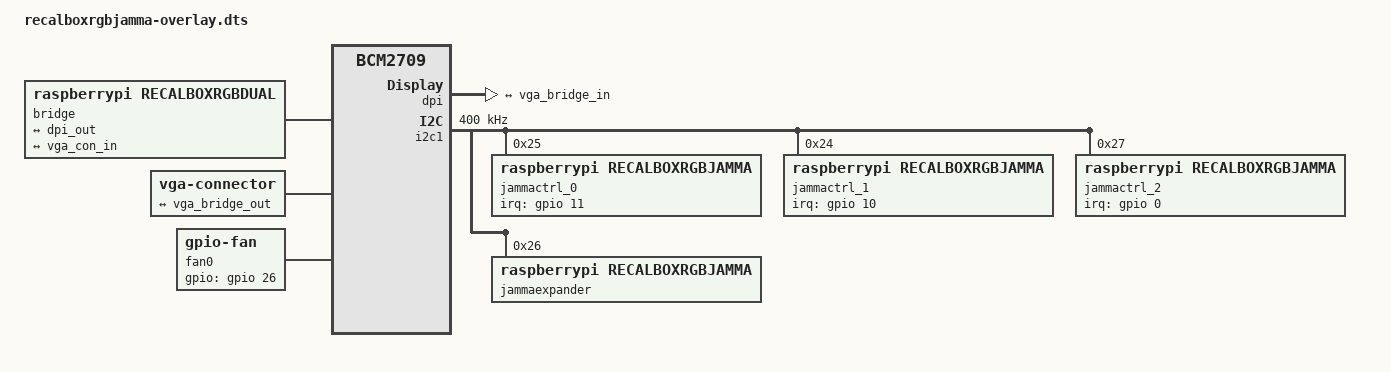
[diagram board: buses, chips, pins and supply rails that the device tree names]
/dts-v1/;
/plugin/;

/ {
	compatible = "brcm,bcm2835", "brcm,bcm2708", "brcm,bcm2709";
    fragment@0 {
        target = <&gpio>;
        __overlay__ {
            irq_gpio_11: irq_gpio_11_conf {
                brcm,pins = <11>; // GPIO 11
                brcm,function = <0>; // Input
                brcm,pull = <2>; // Pull up
            };
            irq_gpio_10: irq_gpio_10_conf {
                brcm,pins = <10>; // GPIO 10
                brcm,function = <0>; // Input
                brcm,pull = <2>; // Pull up
            };
            irq_gpio_0: irq_gpio_0_conf {
                brcm,pins = <0>; // GPIO 0
                brcm,function = <0>; // Input
                brcm,pull = <2>; // Pull up
            };
        };
    };

	fragment@1 {
		target-path = "/";
		__overlay__ {

			bridge: recalboxrgbjamma {
				compatible = "raspberrypi,recalboxrgbdual";
				#address-cells = <1>;
				#size-cells = <0>;

				vc4-vga666-mode = <6>;
				recalbox-rgb-jamma = <1>;
				ports {
					#address-cells = <1>;
					#size-cells = <0>;

					port@0 {
						reg = <0>;
						vga_bridge_in: endpoint {
							remote-endpoint = <&dpi_out>;
						};
					};

					port@1 {
						reg = <1>;
						vga_bridge_out: endpoint {
							remote-endpoint = <&vga_con_in>;
						};
					};
				};
			};

			vga {
				compatible = "vga-connector";
				port {
					vga_con_in: endpoint {
						remote-endpoint = <&vga_bridge_out>;
					};
				};
			};
		};
	};

	fragment@2 {
		target = <&dpi>;
		__overlay__  {
			pinctrl-names = "default";
			pinctrl-0 = <&vga666_mode6_pins>;
			status = "okay";
			port {
				dpi_out: endpoint@0 {
					remote-endpoint = <&vga_bridge_in>;
				};
			};
		};
	};

	fragment@4 {
		target = <&gpio>;
		__overlay__ {
			vga666_mode6_pins: vga666_mode6_pins {
				brcm,pins = <1
				      4  5  6  7  8  9
				      12 13 14 15 16 17
				      20 21 22 23 24 25>;
				brcm,function = <6>;
				brcm,pull = <0>;
			};
		};
	};

    fragment@5 {
        target = <&audio_pins>;
            __overlay__ {
                brcm,pins = < 18 19 >;
                brcm,function = < 2 >; /* alt5 alt5 */
                swap_lr;
            };
    };

    fragment@6 {
        target = <&chosen>;
        __overlay__  {
            bootargs = "snd_bcm2835.enable_headphones=1";
        };
    };

  fragment@8 {
    target = <&i2c1>;
    __overlay__ {
      status = "okay";
      pinctrl-names = "default";
      pinctrl-0 = <&i2c1_pins>;
      clock-frequency = <400000>;
      read-timeout-ms = <50>;
      jammactrl_0: jammactrl_0@25 {
        compatible = "raspberrypi,recalboxrgbjamma";
        reg = <0x25>;
        status = "okay";
        pinctrl-names = "default";
        pinctrl-0 = <&irq_gpio_11>;
        interrupt-parent = <&gpio>;
        interrupts = <11 2>;
        irq-gpios = <&gpio 11 0>;
      };
      jammactrl_1: jammactrl_1@24 {
        compatible = "raspberrypi,recalboxrgbjamma";
        reg = <0x24>;
        status = "okay";
        pinctrl-names = "default";
        pinctrl-0 = <&irq_gpio_10>;
        interrupt-parent = <&gpio>;
        interrupts = <10 2>;
        irq-gpios = <&gpio 10 0>;
      };
      jammactrl_2: jammactrl_2@27 {
        compatible = "raspberrypi,recalboxrgbjamma";
        reg = <0x27>;
        status = "okay";
        pinctrl-names = "default";
        pinctrl-0 = <&irq_gpio_0>;
        interrupt-parent = <&gpio>;
        interrupts = <0 2>;
        irq-gpios = <&gpio 0 0>;
      };
      jammaexpander: jammaexpander@26 {
        compatible = "raspberrypi,recalboxrgbjamma";
        reg = <0x26>;
        status = "okay";
      };
    };
  };

  fragment@9 {
		target = <&i2c1_pins>;
		__overlay__ {
			brcm,pins = <2 3>;
		};
	};

  fragment@10 {
    target-path = "/";
    __overlay__ {
      fan0: gpio-fan@0 {
        compatible = "gpio-fan";
        gpios = <&gpio 26 0>;
        gpio-fan,speed-map = <0 0>,<5000 1>;
        #cooling-cells = <2>;
      };
    };
  };

  fragment@11 {
    target = <&cpu_thermal>;
    polling-delay = <5000>;	/* milliseconds */
    __overlay__ {
      trips {
        cpu_hot: trip-point@0 {
          temperature = <60000>;	/* (millicelsius) Fan started at 60°C */
          hysteresis = <10000>;	    /* (millicelsius) Fan stopped at 50°C */
          type = "active";
        };
      };
      cooling-maps {
        map0 {
          trip = <&cpu_hot>;
          cooling-device = <&fan0 1 1>;
        };
      };
    };
  };
};
